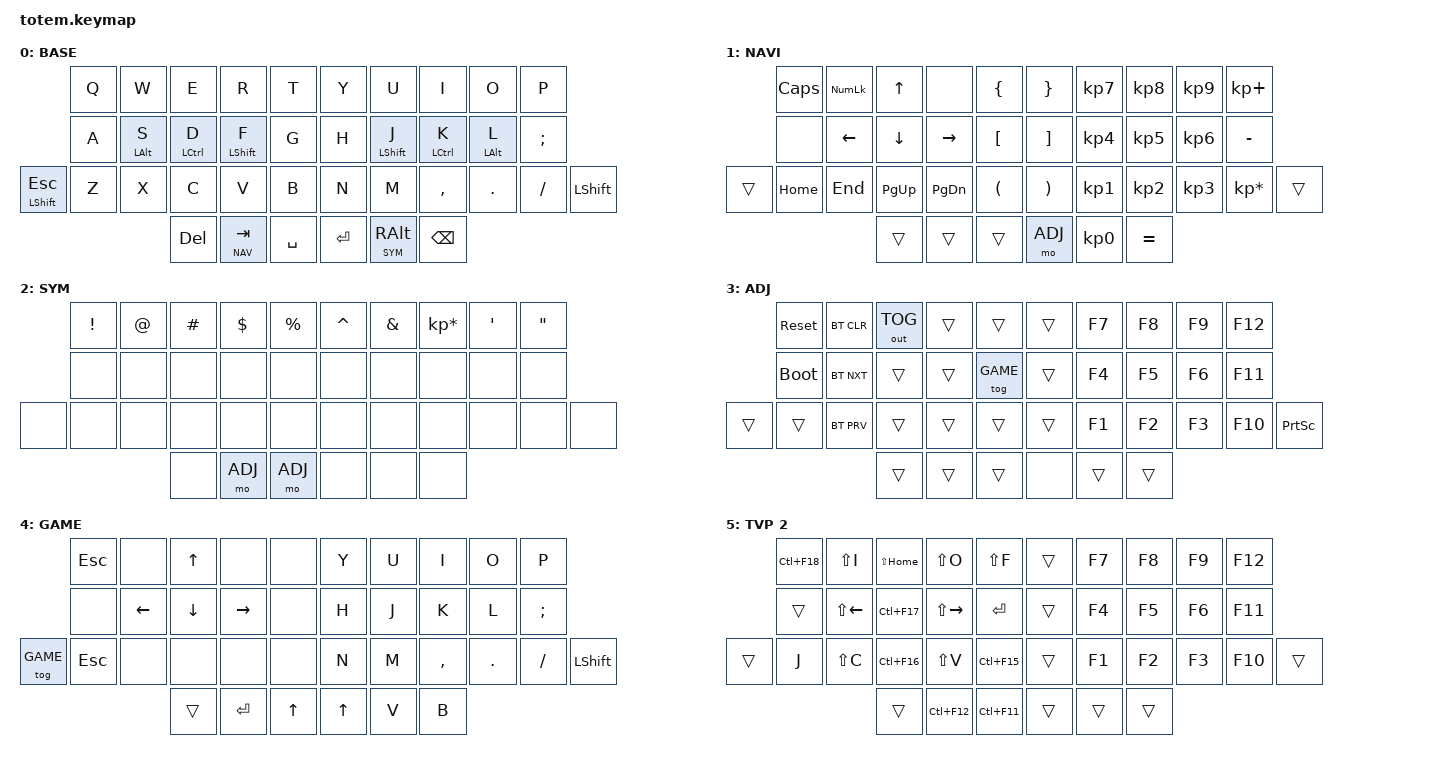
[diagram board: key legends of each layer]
//
//                                                        ▀▀▀▀▀     ▀▀▀▀▀          ▀▀█▀▀
//                                                        ▄▀▀▀▄  ▄  ▄▀▀▀▄  ▄  ▄▀▀▀▄  █  ▄▀▀▀▄
//                                                        █   █  █  █   █  █  █   █  █  █   █
//                                                         ▀▀▀   █   ▀▀▀   █   ▀▀▀   ▀   ▀▀▀
//                                                               █      ▄▄▄█▄▄▄    █   █  
//                                                               ▀      █  █  █     █▄█
//                                                             ▀▀▀▀▀    █  █  █      ▀
//                                                                      ▀  ▀  ▀
//
// ▄▄▄▄▄▄▄▄▄▄▄▄▄▄▄▄▄▄▄▄▄▄▄▄▄▄▄▄▄▄▄▄▄▄▄▄▄▄▄▄▄▄▄▄▄▄▄▄▄▄▄▄▄▄▄▄▄▄▄▄▄▄▄▄▄▄▄▄▄▄▄▄▄▄▄▄▄▄▄▄▄▄▄▄▄▄▄▄▄▄▄▄▄▄▄▄▄▄▄▄▄▄▄▄▄▄▄▄▄▄▄▄▄▄▄▄▄▄▄▄▄▄▄▄▄▄▄▄▄▄▄▄▄▄▄▄▄▄▄▄▄▄▄▄▄▄▄▄▄
       

#include <behaviors.dtsi>
#include <dt-bindings/zmk/keys.h>
#include <dt-bindings/zmk/bt.h>
#include <dt-bindings/zmk/outputs.h>

#define BASE 0
#define NAV  1
#define SYM  2
#define ADJ  3
#define GAME 4
#define TVP2 5

#define COMBO(NAME, BINDINGS, KEYPOS) \
  combo_##NAME { \
    timeout-ms = <50>; \
    bindings = <BINDINGS>; \
    key-positions = <KEYPOS>; \
    layers = <0>; \
  };

&mt {
  quick-tap-ms = <100>;
  global-quick-tap;
  flavor = "tap-preferred";
  tapping-term-ms = <170>;
};

&lt {
    tapping-term-ms = <240>;
    flavor = "balanced";
    quick-tap-ms = <150>;
};

/ {
        combos {
                compatible = "zmk,combos";
                                              
	        COMBO(ctrl+c, &kp LC(C), 22 23)
                COMBO(ctrl+v, &kp LC(V), 23 24)
                COMBO(ctrl+x, &kp LC(X), 21 22)
                COMBO(win, &kp LGUI, 20 34)
                COMBO(dcq, &kp LS(Q), 00 10)
                COMBO(dcw, &kp LS(W), 01 11)
                COMBO(dce, &kp LS(E), 02 12)
                COMBO(dcr, &kp LS(R), 03 13)
                COMBO(dct, &kp LS(T), 04 14)
                COMBO(dcy, &kp LS(Y), 05 15)
                COMBO(dcu, &kp LS(U), 06 16)
                COMBO(dci, &kp LS(I), 07 17)
                COMBO(dco, &kp LS(O), 08 18)
                COMBO(dcp, &kp LS(P), 09 19)
    };

        behaviors {
        hm: homerow_mods {
            compatible = "zmk,behavior-hold-tap";
            label = "HOMEROW_MODS";
            #binding-cells = <2>;
            flavor = "tap-preferred";
            tapping-term-ms = <200>;
            quick-tap-ms = <125>;
            global-quick-tap;
            bindings =
                <&kp>,
                <&kp>;
        };
    };

    macros {
       
    };

        keymap {
                compatible = "zmk,keymap";
// ▄▄▄▄▄▄▄▄▄▄▄▄▄▄▄▄▄▄▄▄▄▄▄▄▄▄▄▄▄▄▄▄▄▄▄▄▄▄▄▄▄▄▄▄▄▄▄▄▄▄▄▄▄▄▄▄▄▄▄▄▄▄▄▄▄▄▄▄▄▄▄▄▄▄▄▄▄▄▄▄▄▄▄▄▄▄▄▄▄▄▄▄▄▄▄▄▄▄▄▄▄▄▄▄▄▄▄▄▄▄▄▄▄▄▄▄▄▄▄▄▄▄▄▄▄▄▄▄▄▄▄▄▄▄▄▄▄▄▄▄▄▄▄▄▄▄▄▄▄

                base_layer {
// ┏━━━━━━━━━━━━━━━━━━━━━━━━━━━━━━━━━━━━━━━┓
label= "BASE"                              ;
// ┗━━━━━━━━━━━━━━━━━━━━━━━━━━━━━━━━━━━━━━━┛
//             ┏━━━━━━━━━━━┳━━━━━━━━━━━┳━━━━━━━━━━━┳━━━━━━━━━━━┳━━━━━━━━━━━┓   ┏━━━━━━━━━━━┳━━━━━━━━━━━┳━━━━━━━━━━━┳━━━━━━━━━━━┳━━━━━━━━━━━┓
//             ┃     Q     ┃     W     ┃     E     ┃     R     ┃     T     ┃   ┃     Y     ┃     U     ┃     I     ┃     O     ┃     P     ┃
//             ┣━━━━━━━━━━━╋━━━━━━━━━━━╋━━━━━━━━━━━╋━━━━━━━━━━━╋━━━━━━━━━━━┫   ┣━━━━━━━━━━━╋━━━━━━━━━━━╋━━━━━━━━━━━╋━━━━━━━━━━━╋━━━━━━━━━━━┫
//             ┃     A     ┃     S     ┃     D     ┃     F     ┃     G     ┃   ┃     H     ┃     J     ┃     K     ┃     L     ┃     ;     ┃
// ┏━━━━━━━━━━━╋━━━━━━━━━━━╋━━━━━━━━━━━╋━━━━━━━━━━━╋━━━━━━━━━━━╋━━━━━━━━━━━┫   ┣━━━━━━━━━━━╋━━━━━━━━━━━╋━━━━━━━━━━━╋━━━━━━━━━━━╋━━━━━━━━━━━╋━━━━━━━━━━━┓
// ┃    ESC    ┃     Z     ┃     X     ┃     C     ┃     V     ┃     B     ┃   ┃     N     ┃     M     ┃     ,     ┃     .     ┃     /     ┃   SHIFT   ┃
// ┗━━━━━━━━━━━┻━━━━━━━━━━━┻━━━━━━━━━━━╋━━━━━━━━━━━╋━━━━━━━━━━━╋━━━━━━━━━━━┫   ┣━━━━━━━━━━━╋━━━━━━━━━━━╋━━━━━━━━━━━╋━━━━━━━━━━━┻━━━━━━━━━━━┻━━━━━━━━━━━┛
//                                     ┃    DEL    ┃    TAB    ┃    SPC    ┃   ┃   ENTER   ┃    RALT   ┃   BSPC    ┃
//                                     ┗━━━━━━━━━━━┻━━━━━━━━━━━┻━━━━━━━━━━━┛   ┗━━━━━━━━━━━┻━━━━━━━━━━━┻━━━━━━━━━━━┛
 bindings = <
// ╷           ╷           ╷           ╷           ╷           ╷           ╷   ╷           ╷           ╷           ╷           ╷           ╷           ╷

                    &kp Q       &kp W       &kp E       &kp R       &kp T           &kp Y       &kp U         &kp I       &kp O       &kp P
                    &kp A       &hm LALT S  &hm LCTRL D &hm LSHFT F &kp G           &kp H       &hm LSHFT J   &hm LCTRL K &hm LALT L  &kp SEMI
    &mt LSHFT ESC   &kp Z       &kp X       &kp C       &kp V       &kp B           &kp N       &kp M         &kp COMMA   &kp DOT     &kp FSLH    &kp LSHFT
                                            &kp DEL     &lt NAV TAB &kp SPACE       &kp RET     &lt SYM RALT  &kp BSPC
                        >;
                };

// ▄▄▄▄▄▄▄▄▄▄▄▄▄▄▄▄▄▄▄▄▄▄▄▄▄▄▄▄▄▄▄▄▄▄▄▄▄▄▄▄▄▄▄▄▄▄▄▄▄▄▄▄▄▄▄▄▄▄▄▄▄▄▄▄▄▄▄▄▄▄▄▄▄▄▄▄▄▄▄▄▄▄▄▄▄▄▄▄▄▄▄▄▄▄▄▄▄▄▄▄▄▄▄▄▄▄▄▄▄▄▄▄▄▄▄▄▄▄▄▄▄▄▄▄▄▄▄▄▄▄▄▄▄▄▄▄▄▄▄▄▄▄▄▄▄▄▄▄▄


                nav_layer {
// ┏━━━━━━━━━━━━━━━━━━━━━━━━━━━━━━━━━━━━━━━┓
label= "NAVI"                              ;
// ┗━━━━━━━━━━━━━━━━━━━━━━━━━━━━━━━━━━━━━━━┛
//             ┏━━━━━━━━━━━┳━━━━━━━━━━━┳━━━━━━━━━━━┳━━━━━━━━━━━┳━━━━━━━━━━━┓   ┏━━━━━━━━━━━┳━━━━━━━━━━━┳━━━━━━━━━━━┳━━━━━━━━━━━┳━━━━━━━━━━━┓
//             ┃ caps lock ┃    NUM    ┃     UP    ┃           ┃     {     ┃   ┃     }     ┃     7     ┃     8     ┃     9     ┃     +     ┃
//             ┣━━━━━━━━━━━╋━━━━━━━━━━━╋━━━━━━━━━━━╋━━━━━━━━━━━╋━━━━━━━━━━━┫   ┣━━━━━━━━━━━╋━━━━━━━━━━━╋━━━━━━━━━━━╋━━━━━━━━━━━╋━━━━━━━━━━━┫
//             ┃    snap   ┃   LEFT    ┃    DOWN   ┃   RIGHT   ┃     [     ┃   ┃     ]     ┃     4     ┃     5     ┃     6     ┃     -     ┃
// ┏━━━━━━━━━━━╋━━━━━━━━━━━╋━━━━━━━━━━━╋━━━━━━━━━━━╋━━━━━━━━━━━╋━━━━━━━━━━━┫   ┣━━━━━━━━━━━╋━━━━━━━━━━━╋━━━━━━━━━━━╋━━━━━━━━━━━╋━━━━━━━━━━━╋━━━━━━━━━━━┓
// ┃    ESC    ┃    HOME   ┃    END    ┃   PG UP   ┃  PG DOWN  ┃     (     ┃   ┃     )     ┃     1     ┃     2     ┃     3     ┃     *     ┃           ┃
// ┗━━━━━━━━━━━┻━━━━━━━━━━━┻━━━━━━━━━━━╋━━━━━━━━━━━╋━━━━━━━━━━━╋━━━━━━━━━━━┫   ┣━━━━━━━━━━━╋━━━━━━━━━━━╋━━━━━━━━━━━╋━━━━━━━━━━━┻━━━━━━━━━━━┻━━━━━━━━━━━┛
//                                     ┃    DEL    ┃    TAB    ┃    SPC    ┃   ┃    ADJ    ┃     0     ┃     =     ┃
//                                     ┗━━━━━━━━━━━┻━━━━━━━━━━━┻━━━━━━━━━━━┛   ┗━━━━━━━━━━━┻━━━━━━━━━━━┻━━━━━━━━━━━┛
 bindings = <
// ╷           ╷           ╷           ╷           ╷           ╷           ╷   ╷           ╷           ╷           ╷           ╷           ╷           ╷

                &kp CAPS    &kp KP_NLCK  &kp UP      &none       &kp LBRC        &kp RBRC    &kp KP_N7   &kp KP_N8   &kp KP_N9   &kp KP_PLUS
                &none       &kp LEFT     &kp DOWN    &kp RIGHT   &kp LBKT        &kp RBKT    &kp KP_N4   &kp KP_N5   &kp KP_N6   &kp MINUS
     &trans     &kp HOME    &kp END      &kp PG_UP   &kp PG_DN   &kp LPAR        &kp RPAR    &kp KP_N1   &kp KP_N2   &kp KP_N3   &kp KP_MULTIPLY &trans     
                                         &trans      &trans      &trans          &mo ADJ     &kp KP_N0   &kp EQUAL     
                        >;
                };

// ▄▄▄▄▄▄▄▄▄▄▄▄▄▄▄▄▄▄▄▄▄▄▄▄▄▄▄▄▄▄▄▄▄▄▄▄▄▄▄▄▄▄▄▄▄▄▄▄▄▄▄▄▄▄▄▄▄▄▄▄▄▄▄▄▄▄▄▄▄▄▄▄▄▄▄▄▄▄▄▄▄▄▄▄▄▄▄▄▄▄▄▄▄▄▄▄▄▄▄▄▄▄▄▄▄▄▄▄▄▄▄▄▄▄▄▄▄▄▄▄▄▄▄▄▄▄▄▄▄▄▄▄▄▄▄▄▄▄▄▄▄▄▄▄▄▄▄▄▄


                sim_layer {
// ┏━━━━━━━━━━━━━━━━━━━━━━━━━━━━━━━━━━━━━━━┓
label= "SYM"                               ;
// ┗━━━━━━━━━━━━━━━━━━━━━━━━━━━━━━━━━━━━━━━┛
//             ┏━━━━━━━━━━━┳━━━━━━━━━━━┳━━━━━━━━━━━┳━━━━━━━━━━━┳━━━━━━━━━━━┓   ┏━━━━━━━━━━━┳━━━━━━━━━━━┳━━━━━━━━━━━┳━━━━━━━━━━━┳━━━━━━━━━━━┓
//             ┃     !     ┃     @     ┃     #     ┃     $     ┃     %     ┃   ┃     ˆ     ┃     &     ┃     *     ┃     '     ┃     "     ┃
//             ┣━━━━━━━━━━━╋━━━━━━━━━━━╋━━━━━━━━━━━╋━━━━━━━━━━━╋━━━━━━━━━━━┫   ┣━━━━━━━━━━━╋━━━━━━━━━━━╋━━━━━━━━━━━╋━━━━━━━━━━━╋━━━━━━━━━━━┫
//             ┃           ┃           ┃           ┃           ┃           ┃   ┃           ┃           ┃           ┃           ┃           ┃ 
// ┏━━━━━━━━━━━╋━━━━━━━━━━━╋━━━━━━━━━━━╋━━━━━━━━━━━╋━━━━━━━━━━━╋━━━━━━━━━━━┫   ┣━━━━━━━━━━━╋━━━━━━━━━━━╋━━━━━━━━━━━╋━━━━━━━━━━━╋━━━━━━━━━━━╋━━━━━━━━━━━┓
// ┃           ┃           ┃           ┃           ┃           ┃           ┃   ┃           ┃           ┃           ┃           ┃           ┃     \     ┃       
// ┗━━━━━━━━━━━┻━━━━━━━━━━━┻━━━━━━━━━━━╋━━━━━━━━━━━╋━━━━━━━━━━━╋━━━━━━━━━━━┫   ┣━━━━━━━━━━━╋━━━━━━━━━━━╋━━━━━━━━━━━╋━━━━━━━━━━━┻━━━━━━━━━━━┻━━━━━━━━━━━┛
//                                     ┃           ┃           ┃    ADJ    ┃   ┃           ┃           ┃           ┃
//                                     ┗━━━━━━━━━━━┻━━━━━━━━━━━┻━━━━━━━━━━━┛   ┗━━━━━━━━━━━┻━━━━━━━━━━━┻━━━━━━━━━━━┛
 bindings = <
// ╷           ╷           ╷           ╷           ╷           ╷           ╷   ╷           ╷           ╷           ╷           ╷           ╷           ╷

                &kp EXCL    &kp AT      &kp HASH    &kp DLLR    &kp PRCNT       &kp CARET   &kp AMPS    &kp KP_MULTIPLY   &kp SQT     &kp DQT       
                &none       &none       &none       &none       &none           &none       &none       &none             &none       &none
     &none      &none       &none       &none       &none       &none           &none       &none       &none             &none       &none    &none    
                                        &none       &mo ADJ     &mo ADJ         &none       &none       &none     
                        >;
                };

// ▄▄▄▄▄▄▄▄▄▄▄▄▄▄▄▄▄▄▄▄▄▄▄▄▄▄▄▄▄▄▄▄▄▄▄▄▄▄▄▄▄▄▄▄▄▄▄▄▄▄▄▄▄▄▄▄▄▄▄▄▄▄▄▄▄▄▄▄▄▄▄▄▄▄▄▄▄▄▄▄▄▄▄▄▄▄▄▄▄▄▄▄▄▄▄▄▄▄▄▄▄▄▄▄▄▄▄▄▄▄▄▄▄▄▄▄▄▄▄▄▄▄▄▄▄▄▄▄▄▄▄▄▄▄▄▄▄▄▄▄▄▄▄▄▄▄▄▄▄


                adjust_layer {
// ┏━━━━━━━━━━━━━━━━━━━━━━━━━━━━━━━━━━━━━━━┓
label= "ADJ"                               ;
// ┗━━━━━━━━━━━━━━━━━━━━━━━━━━━━━━━━━━━━━━━┛
//             ┏━━━━━━━━━━━┳━━━━━━━━━━━┳━━━━━━━━━━━┳━━━━━━━━━━━┳━━━━━━━━━━━┓   ┏━━━━━━━━━━━┳━━━━━━━━━━━┳━━━━━━━━━━━┳━━━━━━━━━━━┳━━━━━━━━━━━┓
//             ┃   RESET   ┃  BT CLEAR ┃  OUT TOG  ┃           ┃           ┃   ┃           ┃     F7    ┃    F8     ┃    F9     ┃    F12    ┃
//             ┣━━━━━━━━━━━╋━━━━━━━━━━━╋━━━━━━━━━━━╋━━━━━━━━━━━╋━━━━━━━━━━━┫   ┣━━━━━━━━━━━╋━━━━━━━━━━━╋━━━━━━━━━━━╋━━━━━━━━━━━╋━━━━━━━━━━━┫
//             ┃ BOOTLOAD  ┃  BT NEXT  ┃           ┃           ┃    GAME   ┃   ┃           ┃     F4    ┃    F5     ┃    F6     ┃    F11    ┃
// ┏━━━━━━━━━━━╋━━━━━━━━━━━╋━━━━━━━━━━━╋━━━━━━━━━━━╋━━━━━━━━━━━╋━━━━━━━━━━━┫   ┣━━━━━━━━━━━╋━━━━━━━━━━ ╋━━━━━━━━━━━╋━━━━━━━━━━━╋━━━━━━━━━━━╋━━━━━━━━━━━┓
// ┃           ┃           ┃  BT PREV  ┃           ┃           ┃           ┃   ┃           ┃     F1    ┃    F2     ┃    F3     ┃    F10    ┃    SNAP   ┃
// ┗━━━━━━━━━━━┻━━━━━━━━━━━┻━━━━━━━━━━━╋━━━━━━━━━━━╋━━━━━━━━━━━╋━━━━━━━━━━━┫   ┣━━━━━━━━━━━╋━━━━━━━━━━━╋━━━━━━━━━━━╋━━━━━━━━━━━┻━━━━━━━━━━━┻━━━━━━━━━━━┛
//                                     ┃           ┃           ┃           ┃   ┃           ┃           ┃           ┃
//                                     ┗━━━━━━━━━━━┻━━━━━━━━━━━┻━━━━━━━━━━━┛   ┗━━━━━━━━━━━┻━━━━━━━━━━━┻━━━━━━━━━━━┛
 bindings = <
// ╷           ╷           ╷           ╷           ╷           ╷           ╷   ╷           ╷           ╷           ╷           ╷           ╷           ╷

                &sys_reset  &bt BT_CLR  &out OUT_TOG &trans      &trans          &trans      &kp F7      &kp F8      &kp F9      &kp F12
                &bootloader &bt BT_NXT  &trans       &trans      &tog GAME       &trans      &kp F4      &kp F5      &kp F6      &kp F11  
    &trans      &trans      &bt BT_PRV  &trans       &trans      &trans          &trans      &kp F1      &kp F2      &kp F3      &kp F10     &kp PSCRN         
                                        &trans       &trans      &trans          &none       &trans      &trans   
                        >;
                };

// ▄▄▄▄▄▄▄▄▄▄▄▄▄▄▄▄▄▄▄▄▄▄▄▄▄▄▄▄▄▄▄▄▄▄▄▄▄▄▄▄▄▄▄▄▄▄▄▄▄▄▄▄▄▄▄▄▄▄▄▄▄▄▄▄▄▄▄▄▄▄▄▄▄▄▄▄▄▄▄▄▄▄▄▄▄▄▄▄▄▄▄▄▄▄▄▄▄▄▄▄▄▄▄▄▄▄▄▄▄▄▄▄▄▄▄▄▄▄▄▄▄▄▄▄▄▄▄▄▄▄▄▄▄▄▄▄▄▄▄▄▄▄▄▄▄▄▄▄▄


                game_layer {
// ┏━━━━━━━━━━━━━━━━━━━━━━━━━━━━━━━━━━━━━━━┓
label= "GAME"                             ;
// ┗━━━━━━━━━━━━━━━━━━━━━━━━━━━━━━━━━━━━━━━┛
//             ┏━━━━━━━━━━━┳━━━━━━━━━━━┳━━━━━━━━━━━┳━━━━━━━━━━━┳━━━━━━━━━━━┓   ┏━━━━━━━━━━━┳━━━━━━━━━━━┳━━━━━━━━━━━┳━━━━━━━━━━━┳━━━━━━━━━━━┓
//             ┃    ESC    ┃           ┃     UP    ┃           ┃           ┃   ┃     Y     ┃     U     ┃     I     ┃     O     ┃     P     ┃
//             ┣━━━━━━━━━━━╋━━━━━━━━━━━╋━━━━━━━━━━━╋━━━━━━━━━━━╋━━━━━━━━━━━┫   ┣━━━━━━━━━━━╋━━━━━━━━━━━╋━━━━━━━━━━━╋━━━━━━━━━━━╋━━━━━━━━━━━┫
//             ┃           ┃   LEFT    ┃    DOWN   ┃   RIGHT   ┃           ┃   ┃     H     ┃     J     ┃     K     ┃     L     ┃     ;     ┃
// ┏━━━━━━━━━━━╋━━━━━━━━━━━╋━━━━━━━━━━━╋━━━━━━━━━━━╋━━━━━━━━━━━╋━━━━━━━━━━━┫   ┣━━━━━━━━━━━╋━━━━━━━━━━━╋━━━━━━━━━━━╋━━━━━━━━━━━╋━━━━━━━━━━━╋━━━━━━━━━━━┓
// ┃  OFF GAME ┃    ESC    ┃           ┃           ┃           ┃           ┃   ┃     N     ┃     M     ┃     ,     ┃     .     ┃     /     ┃   SHIFT   ┃
// ┗━━━━━━━━━━━┻━━━━━━━━━━━┻━━━━━━━━━━━╋━━━━━━━━━━━╋━━━━━━━━━━━╋━━━━━━━━━━━┫   ┣━━━━━━━━━━━╋━━━━━━━━━━━╋━━━━━━━━━━━╋━━━━━━━━━━━┻━━━━━━━━━━━┻━━━━━━━━━━━┛
//                                     ┃           ┃   ENTER   ┃     UP    ┃   ┃     UP    ┃     V     ┃     B     ┃
//                                     ┗━━━━━━━━━━━┻━━━━━━━━━━━┻━━━━━━━━━━━┛   ┗━━━━━━━━━━━┻━━━━━━━━━━━┻━━━━━━━━━━━┛
 bindings = <
// ╷           ╷           ╷           ╷           ╷           ╷           ╷   ╷           ╷           ╷           ╷           ╷           ╷           ╷

                &kp ESC     &none       &kp UP      &none       &none           &kp Y       &kp U       &kp I       &kp O       &kp P
                &none       &kp LEFT    &kp DOWN    &kp RIGHT   &none           &kp H       &kp J       &kp K       &kp L       &kp SEMI
    &tog GAME   &kp ESC     &none       &none       &none       &none           &kp N       &kp M       &kp COMMA   &kp DOT     &kp FSLH    &kp LSHFT      
                                        &trans      &kp RET     &kp UP          &kp UP      &kp V       &kp B
                        >;
                };

// ▄▄▄▄▄▄▄▄▄▄▄▄▄▄▄▄▄▄▄▄▄▄▄▄▄▄▄▄▄▄▄▄▄▄▄▄▄▄▄▄▄▄▄▄▄▄▄▄▄▄▄▄▄▄▄▄▄▄▄▄▄▄▄▄▄▄▄▄▄▄▄▄▄▄▄▄▄▄▄▄▄▄▄▄▄▄▄▄▄▄▄▄▄▄▄▄▄▄▄▄▄▄▄▄▄▄▄▄▄▄▄▄▄▄▄▄▄▄▄▄▄▄▄▄▄▄▄▄▄▄▄▄▄▄▄▄▄▄▄▄▄▄▄▄▄▄▄▄▄


                tvp2_layer {
// ┏━━━━━━━━━━━━━━━━━━━━━━━━━━━━━━━━━━━━━━━┓
label= "TVP 2"                             ;
// ┗━━━━━━━━━━━━━━━━━━━━━━━━━━━━━━━━━━━━━━━┛
//             ┏━━━━━━━━━━━┳━━━━━━━━━━━┳━━━━━━━━━━━┳━━━━━━━━━━━┳━━━━━━━━━━━┓   ┏━━━━━━━━━━━┳━━━━━━━━━━━┳━━━━━━━━━━━┳━━━━━━━━━━━┳━━━━━━━━━━━┓
//             ┃ SOLO      ┃ TOGGLE IN ┃ RESET ROT ┃ TOGGLE OUT┃ TAKE SNAP ┃   ┃           ┃           ┃           ┃           ┃           ┃
//             ┣━━━━━━━━━━━╋━━━━━━━━━━━╋━━━━━━━━━━━╋━━━━━━━━━━━╋━━━━━━━━━━━┫   ┣━━━━━━━━━━━╋━━━━━━━━━━━╋━━━━━━━━━━━╋━━━━━━━━━━━╋━━━━━━━━━━━┫
//             ┃ ---       ┃ LAST KEY  ┃ NEW KEY   ┃ NEXT KEY  ┃ ENTER     ┃   ┃           ┃           ┃           ┃           ┃           ┃
// ┏━━━━━━━━━━━╋━━━━━━━━━━━╋━━━━━━━━━━━╋━━━━━━━━━━━╋━━━━━━━━━━━╋━━━━━━━━━━━┫   ┣━━━━━━━━━━━╋━━━━━━━━━━━╋━━━━━━━━━━━╋━━━━━━━━━━━╋━━━━━━━━━━━╋━━━━━━━━━━━┓
// ┃           ┃ FULLSCR   ┃ CPY2BRUSH ┃ DEL HEAD  ┃ PSTinPLACE┃ BOOK MARK ┃   ┃           ┃           ┃           ┃           ┃           ┃           ┃
// ┗━━━━━━━━━━━┻━━━━━━━━━━━┻━━━━━━━━━━━╋━━━━━━━━━━━╋━━━━━━━━━━━╋━━━━━━━━━━━┫   ┣━━━━━━━━━━━╋━━━━━━━━━━━╋━━━━━━━━━━━╋━━━━━━━━━━━┻━━━━━━━━━━━┻━━━━━━━━━━━┛
//                                     ┃           ┃ REDO/SAV1 ┃TRANS/WARP ┃   ┃           ┃           ┃           ┃
//                                     ┗━━━━━━━━━━━┻━━━━━━━━━━━┻━━━━━━━━━━━┛   ┗━━━━━━━━━━━┻━━━━━━━━━━━┻━━━━━━━━━━━┛
 bindings = <
// ╷           ╷           ╷           ╷           ╷           ╷           ╷   ╷           ╷           ╷           ╷           ╷           ╷           ╷

                &kp LC(F18) &kp LS(I)  &kp LS(HOME) &kp LS(O)   &kp LS(F)       &trans      &kp F7      &kp F8      &kp F9      &kp F12
                &trans      &kp LS(LEFT) &kp LC(F17) &kp LS(RIGHT) &kp RET      &trans      &kp F4      &kp F5      &kp F6      &kp F11  
    &trans      &kp J       &kp LS(C)   &kp LC(F16) &kp LS(V)   &kp LC(F15)     &trans      &kp F1      &kp F2      &kp F3      &kp F10     &trans         
                                        &trans      &kp LC(F12) &kp LC(F11)     &trans      &trans      &trans      
                        >;
                };
        };
};
